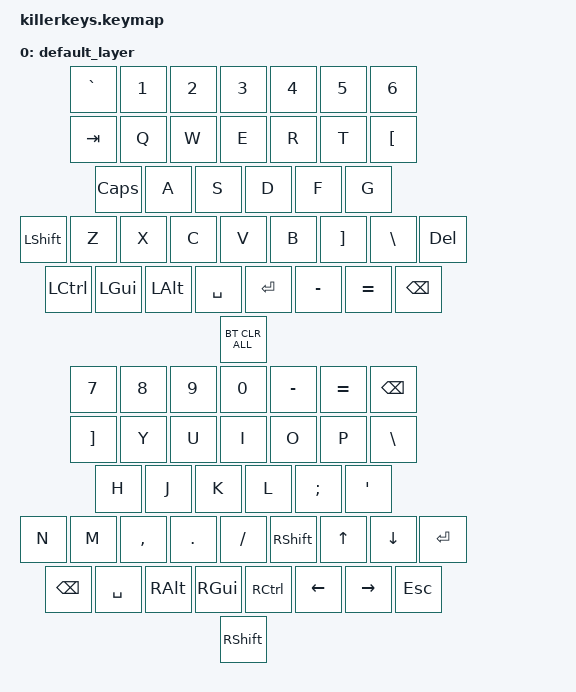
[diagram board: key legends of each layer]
#include <behaviors.dtsi>
#include <dt-bindings/zmk/keys.h>
#include <dt-bindings/zmk/bt.h>

/ {
    keymap {
        compatible = "zmk,keymap";
            default_layer {
            bindings = <
                // ---- LEFT HALF ----
                &kp GRAVE &kp N1 &kp N2 &kp N3 &kp N4 &kp N5 &kp N6
                &kp TAB &kp Q &kp W &kp E &kp R &kp T &kp LBKT
                &kp CAPS &kp A &kp S &kp D &kp F &kp G
                &kp LSHFT &kp Z &kp X &kp C &kp V &kp B &kp RBKT &kp BSLH &kp DEL
                &kp LCTRL &kp LGUI &kp LALT &kp SPACE &kp RET &kp MINUS &kp EQUAL &kp BSPC
                &bt BT_CLR_ALL
                // ---- RIGHT HALF ----
                &kp N7 &kp N8 &kp N9 &kp N0 &kp MINUS &kp EQUAL &kp BSPC
                &kp RBKT &kp Y &kp U &kp I &kp O &kp P &kp BSLH
                &kp H &kp J &kp K &kp L &kp SEMI &kp SQT
                &kp N &kp M &kp COMMA &kp DOT &kp FSLH &kp RSHFT &kp UP &kp DOWN &kp RET
                &kp BSPC &kp SPACE &kp RALT &kp RGUI &kp RCTRL &kp LEFT &kp RIGHT &kp ESC
                &kp RSHFT
            >;
        };
    };
};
